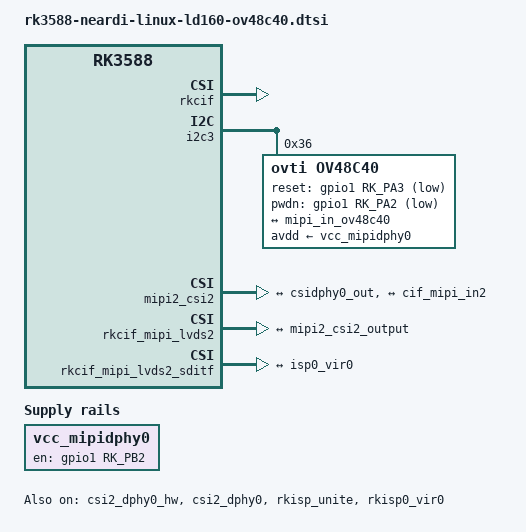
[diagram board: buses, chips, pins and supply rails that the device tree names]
// SPDX-License-Identifier: (GPL-2.0+ OR MIT)
/*
 * Copyright (c) 2021 Rockchip Electronics Co., Ltd.
 *
 */
 
 /*
 *
 *  sensor ->dphy0 ->csi-host2 -> vicp ->isp
 *
 *  Note:vicap logic out to xxx_sditf
 */
 /{
 	vcc_mipidphy0: vcc-mipidphy0-regulator {
		compatible = "regulator-fixed";
		gpio = <&gpio1 RK_PB2 GPIO_ACTIVE_HIGH>;
		pinctrl-names = "default";
		pinctrl-0 = <&mipidphy0_pwr>;
		regulator-name = "vcc_mipidphy0";
		enable-active-high;
		//regulator-always-on;
		//regulator-boot-on;
	};
 };
 
 /******    common   ******/
 &rkcif {
	status = "okay";
};

&rkcif_mmu {
	status = "okay";
};


 /******  ov48c40  ******/
 
 &i2c3 {
	status = "okay";
	ov48c40: ov48c40@36 {
		compatible = "ovti,ov48c40";
		status = "okay";
		reg = <0x36>;
		clocks = <&cru CLK_MIPI_CAMARAOUT_M1>;
		clock-names = "xvclk";
		power-domains = <&power RK3588_PD_VI>;
		pinctrl-names = "default";
		pinctrl-0 = <&mipim0_camera1_clk>;
		rockchip,grf = <&sys_grf>;
		reset-gpios = <&gpio1 RK_PA3 GPIO_ACTIVE_LOW>;
		pwdn-gpios = <&gpio1 RK_PA2 GPIO_ACTIVE_LOW>;
		avdd-supply = <&vcc_mipidphy0>;
		rockchip,camera-module-index = <0>;
		rockchip,camera-hdr-mode = "HDR_X2";
		rockchip,camera-module-facing = "back";
		rockchip,camera-module-name = "CXTOV48";
		rockchip,camera-module-lens-name = "E3336B";

		port {
			ov48c40_out: endpoint {
				remote-endpoint = <&mipi_in_ov48c40>;
				data-lanes = <1 2 3 4>;
			};
		};
	};
};

 
&csi2_dphy0_hw {
	status = "okay";
};


&csi2_dphy0 {
	status = "okay";
	
	ports {
		#address-cells = <1>;
		#size-cells = <0>;
		port@0 {
			reg = <0>;
			#address-cells = <1>;
			#size-cells = <0>;
			mipi_in_ov48c40: endpoint@1 {
				reg = <1>;
				remote-endpoint = <&ov48c40_out>;
				data-lanes = <1 2 3 4>;
			};
		};
		port@1 {
			reg = <1>;
			#address-cells = <1>;
			#size-cells = <0>;
			csidphy0_out: endpoint@0 {
				reg = <0>;
				remote-endpoint = <&mipi2_csi2_input>;
			};
		};
	};
	
};


&mipi2_csi2 {
	status = "okay";

	ports {
		#address-cells = <1>;
		#size-cells = <0>;
		port@0 {
			reg = <0>;
			#address-cells = <1>;
			#size-cells = <0>;
			mipi2_csi2_input: endpoint@1 {
				reg = <1>;
				remote-endpoint = <&csidphy0_out>;
			};
		};
		port@1 {
			reg = <1>;
			#address-cells = <1>;
			#size-cells = <0>;
			mipi2_csi2_output: endpoint@0 {
				reg = <0>;
				remote-endpoint = <&cif_mipi_in2>;
			};
		};
	};
};

&rkcif_mipi_lvds2 {
	status = "okay";

	port {
		cif_mipi_in2: endpoint {
			remote-endpoint = <&mipi2_csi2_output>;
		};
	};
};

&rkcif_mipi_lvds2_sditf {
	status = "okay";

	port {
		mipi_lvds_sditf: endpoint {
			remote-endpoint = <&isp0_vir0>;
		};
	};
};

/******  isp  unite mode    ******/
#if 1

&rkisp_unite {
	status = "okay";
};

&rkisp_unite_mmu {
	status = "okay";
};

&rkisp0_vir0{
	status = "okay";
	rockchip,hw=<&rkisp_unite>;
};

&rkisp0 {
	status = "disabled";
};

&isp0_mmu {
	status = "disabled";
};

&rkisp1 {
	status = "disabled";
};

&isp1_mmu {
	status = "disabled";
};


#else
/******  isp  normal mode    ******/

&rkisp0 {
	status = "okay";
};

&isp0_mmu {
	status = "okay";
};

#endif

/***   isp end  mode   ***/


&rkisp0_vir0 {
	status = "okay";
	port {
		#address-cells = <1>;
		#size-cells = <0>;
		isp0_vir0: endpoint@0 {
			reg = <0>;
			remote-endpoint = <&mipi_lvds_sditf>;
		};
	};
};

&pinctrl {
	cam {
		mipidphy0_pwr: mipidphy0-pwr {
			rockchip,pins =
				/* camera power en */
				<1 RK_PB2 RK_FUNC_GPIO &pcfg_pull_none>;
		};
		
		pwdn_gpio: pwdn-gpio {
			rockchip,pins =
				/* camera power en */
				<1 RK_PA2 RK_FUNC_GPIO &pcfg_pull_down_drv_level_15>;
		};
	};
};



